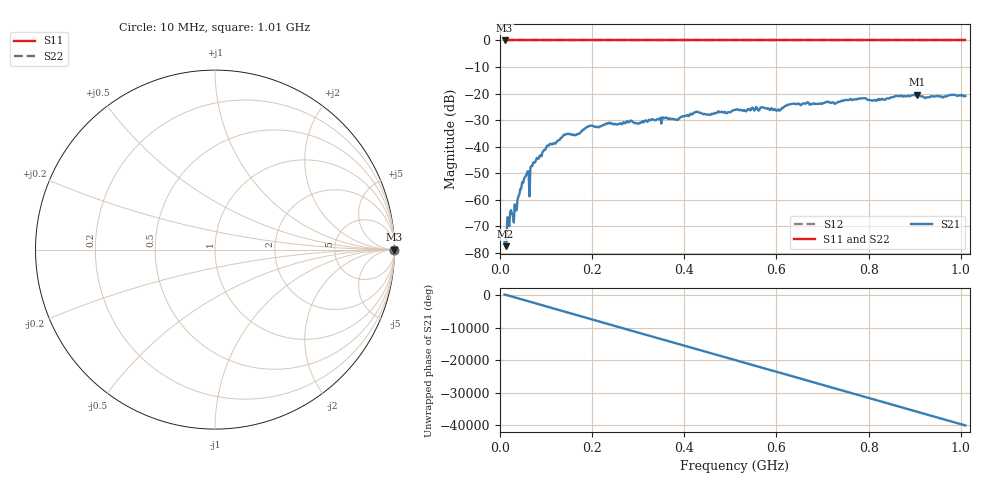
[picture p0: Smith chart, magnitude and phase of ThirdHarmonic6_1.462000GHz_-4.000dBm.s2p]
! 8/16/2025 4:59:57 PM
! C:\ANRITSUVNA\TEMP\TEMP.S2P
! CHANNEL.1
! TR.MEASUREMENT
! RAW.DATA
! RF.CORRECTION.OFF
! AVERAGING.OFF
! IF.BANDWIDTH: 5KHZ
! SWEEPTYPE:  FREQ.SWEEP(Linear)
! Reference Plane Port Info
! PORT:  PORT1  PORT2
! DISTANCE:  0  m  0  m
! TIME:  0  s  0  s
! PHASE.OFFSET:  0  deg.  0  deg.
! LOSS:  0  dB  0  dB
! REF.LOSS:  0  dB  0  dB
! REF.FREQ:  0  Hz  0  Hz
! Power Info
! POWER:  -20  dBm  -20  dBm
! EFF.POWER:  -20  dBm  -20  dBm
! SOURCE.ATTEN:  0  dB  0  dB
! TEST.ATTEN:  0  dB  0  dB
# GHZ S RI R 50.0
! FREQ.GHZ  S11RE  S11IM  S21RE  S21IM  S12RE  S12IM  S22RE  S22IM
!; PortSelection: Port_12
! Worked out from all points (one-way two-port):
!   501 points, 10 MHz to 1.01 GHz, reference 50 ohm
!   highest |S21| = -20.45 dB at 906 MHz (marker M1); lowest = -77.5 dB at 12 MHz (marker M2)
!   lowest |S11| = 0.0 dB at 10 MHz (marker M3)
!   |S11| at or under -10 dB: nowhere
!   |S22| runs from 0.0 to 0.0 dB; largest |S21 - S12| = 1.1
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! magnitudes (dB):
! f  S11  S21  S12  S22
! 10 MHz  0.0  -75.9  0.0  0.0
! 12 MHz  0.0  -77.5  0.0  0.0
! 16 MHz  0.0  -66.6  0.0  0.0
! 20 MHz  0.0  -70.0  0.0  0.0
! 32 MHz  0.0  -61.8  0.0  0.0
! 48 MHz  0.0  -53.4  0.0  0.0
! 58 MHz  0.0  -50.2  0.0  0.0
! 60 MHz  0.0  -49.3  0.0  0.0
! 68 MHz  0.0  -47.3  0.0  0.0
! 70 MHz  0.0  -47.4  0.0  0.0
! 106 MHz  0.0  -39.6  0.0  0.0
! 142 MHz  0.0  -35.5  0.0  0.0
! 178 MHz  0.0  -34.1  0.0  0.0
! 196 MHz  0.0  -32.2  0.0  0.0
! 344 MHz  0.0  -29.7  0.0  0.0
! 510 MHz  0.0  -26.1  0.0  0.0
! 604 MHz  0.0  -25.9  0.0  0.0
! 632 MHz  0.0  -24.0  0.0  0.0
! 678 MHz  0.0  -24.0  0.0  0.0
! 844 MHz  0.0  -21.9  0.0  0.0
! 906 MHz  0.0  -20.5  0.0  0.0
! 1.01 GHz  0.0  -20.9  0.0  0.0
